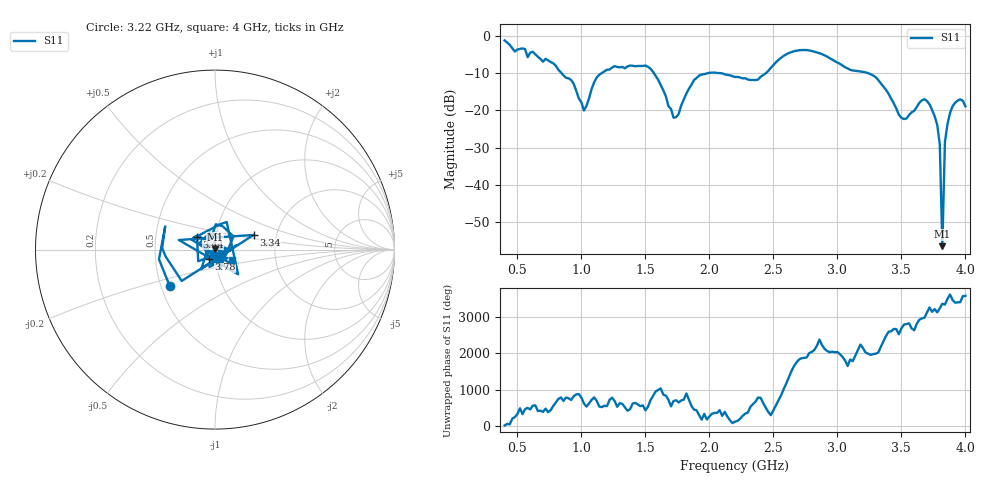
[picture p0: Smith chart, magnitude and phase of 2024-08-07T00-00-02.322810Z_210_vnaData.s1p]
!Created with skrf (http://scikit-rf.org).
# Hz S RI R 50.0
!freq ReS11 ImS11
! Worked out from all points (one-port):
!   181 points, 400 MHz to 4 GHz, reference 50 ohm
!   lowest |S11| = -56.5 dB at 3.82 GHz (marker M1), VSWR 1.00, Z = 49.9 + j0.138 ohm
!   |S11| at or under -10 dB: 1.567 GHz to 1.987 GHz (420.1 MHz wide, 23.6 % of centre); 2.088 GHz to 2.441 GHz (353 MHz wide, 15.6 % of centre); 3.241 GHz to end of sweep (the widest 3 of 4)
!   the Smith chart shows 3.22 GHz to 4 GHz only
!   S11 on the Smith chart (normalised r, x): 3.22 GHz: 0.56, -0.25; 3.34 GHz: 1.52, +0.26; 3.44 GHz: 0.81, +0.12; 3.78 GHz: 0.93, -0.10; 4 GHz: 1.21, -0.14
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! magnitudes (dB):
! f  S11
! 400 MHz  -1.2
! 860 MHz  -10.6
! 940 MHz  -12.9
! 1.02 GHz  -20.0
! 1.12 GHz  -11.1
! 1.3 GHz  -8.4
! 1.54 GHz  -8.8
! 1.72 GHz  -22.0
! 1.76 GHz  -21.0
! 1.92 GHz  -10.6
! 2.2 GHz  -11.0
! 2.38 GHz  -11.7
! 2.66 GHz  -4.1
! 2.86 GHz  -4.6
! 3.1 GHz  -9.1
! 3.22 GHz  -9.8
! 3.34 GHz  -12.8
! 3.44 GHz  -18.1
! 3.5 GHz  -22.0
! 3.56 GHz  -21.2
! 3.68 GHz  -17.0
! 3.78 GHz  -23.9
! 3.8 GHz  -29.1
! 3.82 GHz  -56.5
! 3.84 GHz  -28.5
! 3.86 GHz  -23.7
! 3.92 GHz  -17.9
! 4 GHz  -18.9
